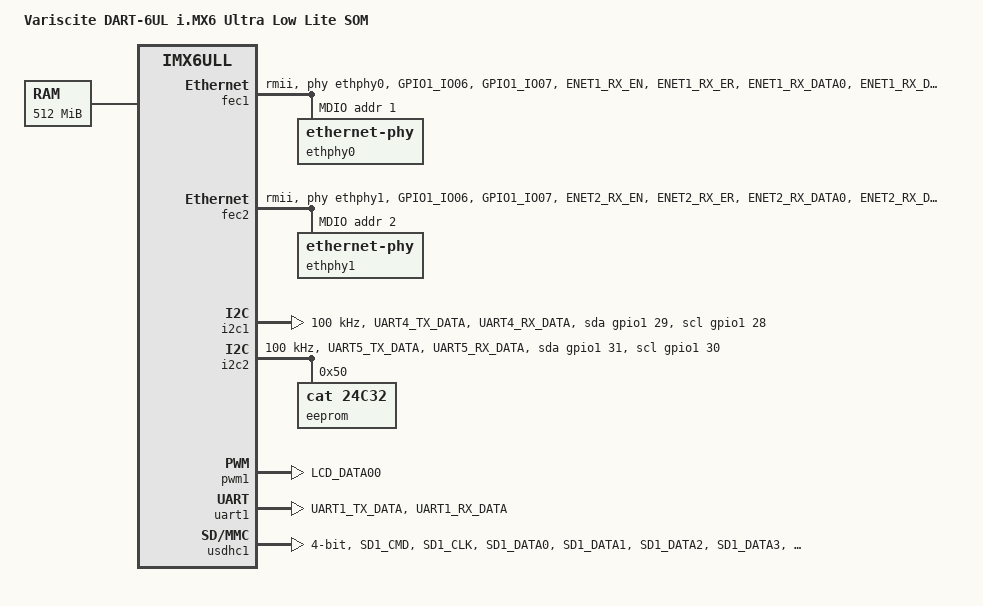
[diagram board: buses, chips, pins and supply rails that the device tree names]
// SPDX-License-Identifier: GPL-2.0+
/*
 * Copyright (C) 2019 Parthiban Nallathambi <parthitce@gmail.com>
 */

/ {
	model = "Variscite DART-6UL i.MX6 Ultra Low Lite SOM";
	compatible = "variscite,imx6ull-dart-6ul", "fsl,imx6ull";

	memory {
		reg = <0x80000000 0x20000000>;
	};

	chosen {
		stdout-path = &uart1;
	};
};

&fec1 {
	pinctrl-names = "default";
	pinctrl-0 = <&pinctrl_enet1>;
	phy-mode = "rmii";
	phy-handle = <&ethphy0>;
	status = "okay";

	mdio1: mdio1 {
		#address-cells = <1>;
		#size-cells = <0>;

		ethphy0: ethernet-phy@1 {
			reg = <1>;
			micrel,led-mode = <1>;
		};
	};
};

&fec2 {
	pinctrl-names = "default";
	pinctrl-0 = <&pinctrl_enet2>;
	phy-mode = "rmii";
	phy-handle = <&ethphy1>;
	status = "okay";

	mdio2: mdio2 {
		#address-cells = <1>;
		#size-cells = <0>;

		ethphy1: ethernet-phy@2 {
			reg = <2>;
			micrel,led-mode = <1>;
		};
	};
};

&gpmi {
	pinctrl-names = "default";
	pinctrl-0 = <&pinctrl_gpmi_nand>;
	nand-on-flash-bbt;
	fsl,no-blockmark-swap;
	status = "disabled";

	#address-cells = <1>;
	#size-cells = <1>;

	partition@0 {
		label = "uboot";
		reg = <0x0 0x400000>;
	};

	partition@400000 {
		label = "uboot-env";
		reg = <0x400000 0x100000>;
	};

	partition@500000 {
		label = "root";
		reg = <0x500000 0x0>;
	};
};

&i2c1 {
	clock-frequency = <100000>;
	pinctrl-names = "default", "gpio";
	pinctrl-0 = <&pinctrl_i2c1>;
	pinctrl-1 = <&pinctrl_i2c1_gpio>;
	scl-gpios = <&gpio1 28 GPIO_ACTIVE_HIGH>;
	sda-gpios = <&gpio1 29 GPIO_ACTIVE_HIGH>;
	status = "okay";
};

&i2c2 {
	clock-frequency = <100000>;
	pinctrl-names = "default", "gpio";
	pinctrl-0 = <&pinctrl_i2c2>;
	pinctrl-1 = <&pinctrl_i2c2_gpio>;
	scl-gpios = <&gpio1 30 GPIO_ACTIVE_HIGH>;
	sda-gpios = <&gpio1 31 GPIO_ACTIVE_HIGH>;
	status = "okay";

	eeprom@50 {
		compatible = "cat,24c32";
		reg = <0x50>;
	};
};

&pwm1 {
	pinctrl-names = "default";
	pinctrl-0 = <&pinctrl_pwm1>;
	#pwm-cells = <3>;
	status = "okay";
};

&uart1 {
	pinctrl-names = "default";
	pinctrl-0 = <&pinctrl_uart1>;
	status = "okay";
};

&usdhc1 {
	pinctrl-names = "default";
	pinctrl-0 = <&pinctrl_usdhc1>;
	cd-gpios = <&gpio1 19 GPIO_ACTIVE_LOW>;
	bus-width = <0x4>;
	no-1-8-v;
	status = "okay";
};

&usdhc2 {
	pinctrl-names = "default";
	pinctrl-0 = <&pinctrl_usdhc2>;
	bus-width = <8>;
	no-1-8-v;
	non-removable;
	keep-power-in-suspend;
	status = "disabled";
};

&iomuxc {
	pinctrl-names = "default";

	pinctrl_enet1: enet1grp {
		fsl,pins = <
			MX6UL_PAD_GPIO1_IO06__ENET1_MDIO	0x1b0b0
			MX6UL_PAD_GPIO1_IO07__ENET1_MDC		0X1b0b0
			MX6UL_PAD_ENET1_RX_EN__ENET1_RX_EN	0x1b0b0
			MX6UL_PAD_ENET1_RX_ER__ENET1_RX_ER	0x1b0b0
			MX6UL_PAD_ENET1_RX_DATA0__ENET1_RDATA00	0x1b0b0
			MX6UL_PAD_ENET1_RX_DATA1__ENET1_RDATA01	0x1b0b0
			MX6UL_PAD_ENET1_TX_EN__ENET1_TX_EN	0x1b0b0
			MX6UL_PAD_ENET1_TX_DATA0__ENET1_TDATA00	0x1b0b0
			MX6UL_PAD_ENET1_TX_DATA1__ENET1_TDATA01	0x1b0b0
			MX6UL_PAD_ENET1_TX_CLK__ENET1_REF_CLK1	0x4001b031
		>;
	};

	pinctrl_enet2: enet2grp {
		fsl,pins = <
			MX6UL_PAD_GPIO1_IO06__ENET2_MDIO	0x1b0b0
			MX6UL_PAD_GPIO1_IO07__ENET2_MDC		0X1b0b0
			MX6UL_PAD_ENET2_RX_EN__ENET2_RX_EN	0x1b0b0
			MX6UL_PAD_ENET2_RX_ER__ENET2_RX_ER	0x1b0b0
			MX6UL_PAD_ENET2_RX_DATA0__ENET2_RDATA00	0x1b0b0
			MX6UL_PAD_ENET2_RX_DATA1__ENET2_RDATA01	0x1b0b0
			MX6UL_PAD_ENET2_TX_EN__ENET2_TX_EN	0x1b0b0
			MX6UL_PAD_ENET2_TX_DATA0__ENET2_TDATA00	0x1b0b0
			MX6UL_PAD_ENET2_TX_DATA1__ENET2_TDATA01	0x1b0b0
			MX6UL_PAD_ENET2_TX_CLK__ENET2_REF_CLK2	0x4001b031
		>;
	};

	pinctrl_gpmi_nand: gpminandgrp {
		fsl,pins = <
			MX6UL_PAD_NAND_DQS__RAWNAND_DQS		0x0b0b1
			MX6UL_PAD_NAND_CLE__RAWNAND_CLE		0x0b0b1
			MX6UL_PAD_NAND_ALE__RAWNAND_ALE		0x0b0b1
			MX6UL_PAD_NAND_WP_B__RAWNAND_WP_B	0x0b0b1
			MX6UL_PAD_NAND_READY_B__RAWNAND_READY_B	0x0b000
			MX6UL_PAD_NAND_CE0_B__RAWNAND_CE0_B	0x0b0b1
			MX6UL_PAD_NAND_CE1_B__RAWNAND_CE1_B	0x0b0b1
			MX6UL_PAD_NAND_RE_B__RAWNAND_RE_B	0x0b0b1
			MX6UL_PAD_NAND_WE_B__RAWNAND_WE_B	0x0b0b1
			MX6UL_PAD_NAND_DATA00__RAWNAND_DATA00	0x0b0b1
			MX6UL_PAD_NAND_DATA01__RAWNAND_DATA01	0x0b0b1
			MX6UL_PAD_NAND_DATA02__RAWNAND_DATA02	0x0b0b1
			MX6UL_PAD_NAND_DATA03__RAWNAND_DATA03	0x0b0b1
			MX6UL_PAD_NAND_DATA04__RAWNAND_DATA04	0x0b0b1
			MX6UL_PAD_NAND_DATA05__RAWNAND_DATA05	0x0b0b1
			MX6UL_PAD_NAND_DATA06__RAWNAND_DATA06	0x0b0b1
			MX6UL_PAD_NAND_DATA07__RAWNAND_DATA07	0x0b0b1
		>;
	};

	pinctrl_i2c1: i2cgrp {
		fsl,pins = <
			MX6UL_PAD_UART4_TX_DATA__I2C1_SCL       0x4001b8b0
			MX6UL_PAD_UART4_RX_DATA__I2C1_SDA       0x4001b8b0
		>;
	};

	pinctrl_i2c1_gpio: i2c1grp_gpio {
		fsl,pins = <
			MX6UL_PAD_UART4_TX_DATA__GPIO1_IO28 0x1b8b0
			MX6UL_PAD_UART4_RX_DATA__GPIO1_IO29 0x1b8b0
		>;
	};

	pinctrl_i2c2: i2cgrp {
		fsl,pins = <
			MX6UL_PAD_UART5_TX_DATA__I2C2_SCL       0x4001b8b0
			MX6UL_PAD_UART5_RX_DATA__I2C2_SDA       0x4001b8b0
		>;
	};

	pinctrl_i2c2_gpio: i2c2grp_gpio {
		fsl,pins = <
			MX6UL_PAD_UART5_TX_DATA__GPIO1_IO30	0x1b8b0
			MX6UL_PAD_UART5_RX_DATA__GPIO1_IO31	0x1b8b0
		>;
	};

	pinctrl_pwm1: pwm1grp {
		fsl,pins = <
			MX6UL_PAD_LCD_DATA00__GPIO3_IO05	0x1b0b1
		>;
	};

	pinctrl_uart1: uart1grp {
		fsl,pins = <
			MX6UL_PAD_UART1_TX_DATA__UART1_DCE_TX	0x1b0b1
			MX6UL_PAD_UART1_RX_DATA__UART1_DCE_RX	0x1b0b1
		>;
	};

	pinctrl_usdhc1: usdhc1grp {
		fsl,pins = <
			MX6UL_PAD_SD1_CMD__USDHC1_CMD		0x17059
			MX6UL_PAD_SD1_CLK__USDHC1_CLK		0x10059
			MX6UL_PAD_SD1_DATA0__USDHC1_DATA0	0x17059
			MX6UL_PAD_SD1_DATA1__USDHC1_DATA1	0x17059
			MX6UL_PAD_SD1_DATA2__USDHC1_DATA2	0x17059
			MX6UL_PAD_SD1_DATA3__USDHC1_DATA3	0x17059
			MX6UL_PAD_UART1_RTS_B__GPIO1_IO19	0x17059

		>;
	};

	pinctrl_usdhc2: usdhc2grp {
		fsl,pins = <
			MX6UL_PAD_NAND_WE_B__USDHC2_CMD		0x170f9
			MX6UL_PAD_NAND_RE_B__USDHC2_CLK		0x100f9
			MX6UL_PAD_NAND_DATA00__USDHC2_DATA0	0x170f9
			MX6UL_PAD_NAND_DATA01__USDHC2_DATA1	0x170f9
			MX6UL_PAD_NAND_DATA02__USDHC2_DATA2	0x170f9
			MX6UL_PAD_NAND_DATA03__USDHC2_DATA3	0x170f9
			MX6UL_PAD_NAND_DATA04__USDHC2_DATA4	0x170f9
			MX6UL_PAD_NAND_DATA05__USDHC2_DATA5	0x170f9
			MX6UL_PAD_NAND_DATA06__USDHC2_DATA6	0x170f9
			MX6UL_PAD_NAND_DATA07__USDHC2_DATA7	0x170f9
		>;
	};
};
